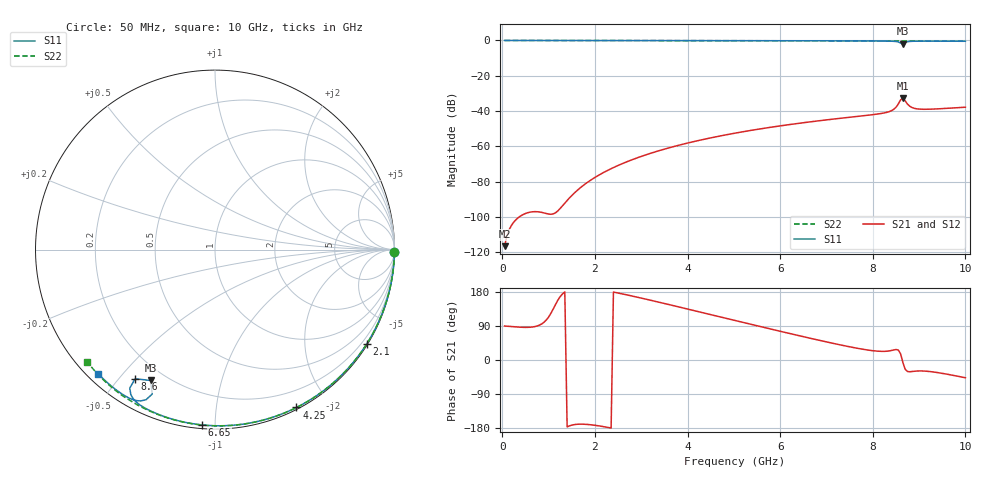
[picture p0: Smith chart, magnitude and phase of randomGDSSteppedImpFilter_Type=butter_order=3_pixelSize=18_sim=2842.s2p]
! freq	dB(S11)	phase(S11)	dB(S12)	phase(S12)
!  dB(S21)	phase(S21)	dB(S22)	phase(S22)
!S-par simulation data
#  GHz  S  DB  R 50
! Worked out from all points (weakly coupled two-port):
!   200 points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, 50 MHz to 10 GHz, reference 50 ohm
!   highest |S21| = -32.65 dB at 8.65 GHz (marker M1); lowest = -116.6 dB at 50 MHz (marker M2)
!   lowest |S11| = -1.8 dB at 8.65 GHz (marker M3), VSWR 9.69, Z = 7.13 - j30.7 ohm
!   |S11| at or under -10 dB: nowhere
!   |S22| runs from -0.5 to 0.0 dB; largest |S21 - S12| = 0
!   S11 on the Smith chart (normalised r, x): 50 MHz: open; 2.1 GHz: 0.03, -3.50; 4.25 GHz: 0.02, -1.64; 6.65 GHz: 0.02, -0.93; 8.6 GHz: 0.11, -0.55; 10 GHz: 0.03, -0.43
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0.05  -0.00 -0.8  -116.61 89.6  -116.61 89.6  -0.00 -0.8
0.9  -0.02 -13.8  -97.76 99.5  -97.76 99.5  -0.02 -14.3
1.75  -0.03 -26.7  -82.14 -169.4  -82.14 -169.4  -0.04 -27.6
1.85  -0.04 -28.2  -80.23 -170.2  -80.23 -170.2  -0.04 -29.2
2.1  -0.04 -31.9  -76.12 -174.1  -76.12 -174.1  -0.04 -33.0
2.65  -0.05 -40.0  -69.18 172.9  -69.18 172.9  -0.05 -41.4
3.4  -0.07 -50.8  -62.36 152.0  -62.36 152.0  -0.07 -52.6
4.25  -0.09 -62.7  -56.63 127.2  -56.63 127.2  -0.09 -64.9
5.05  -0.11 -73.5  -52.42 103.6  -52.42 103.6  -0.12 -76.0
6.65  -0.18 -94.2  -46.13 57.3  -46.13 57.3  -0.19 -97.3
6.7  -0.18 -94.9  -45.97 56.0  -45.97 56.0  -0.19 -97.9
8.05  -0.29 -112.0  -41.90 23.9  -41.90 23.9  -0.28 -114.9
8.35  -0.37 -116.6  -40.38 23.9  -40.38 23.9  -0.31 -118.6
8.5  -0.59 -120.1  -37.90 27.7  -37.90 27.7  -0.32 -120.4
8.55  -0.86 -121.6  -36.08 26.4  -36.08 26.4  -0.32 -121.0
8.6  -1.45 -121.7  -33.71 16.7  -33.71 16.7  -0.33 -121.6
8.65  -1.80 -116.2  -32.65 -6.3  -32.65 -6.3  -0.32 -122.2
8.7  -1.14 -113.5  -34.24 -24.5  -34.24 -24.5  -0.33 -122.8
8.8  -0.54 -116.2  -37.32 -31.0  -37.32 -31.0  -0.34 -124.1
8.95  -0.40 -119.4  -38.76 -29.1  -38.76 -29.1  -0.35 -125.9
9.25  -0.38 -123.9  -38.95 -30.7  -38.95 -30.7  -0.39 -129.5
10  -0.45 -133.1  -37.83 -46.9  -37.83 -46.9  -0.47 -138.6
